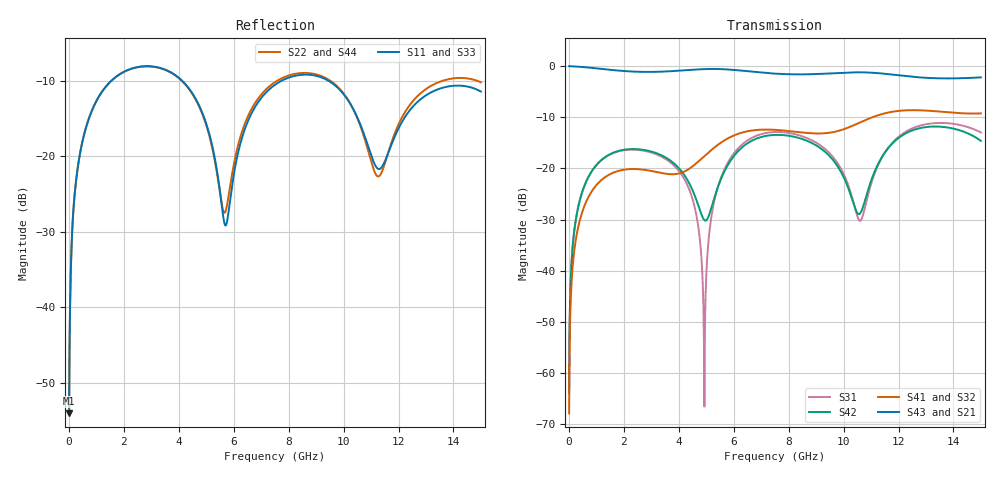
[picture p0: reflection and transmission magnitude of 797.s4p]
! Created with skrf 1.8.0 (http://scikit-rf.org).
# GHz S RI R 50.0
!freq ReS11 ImS11 ReS12 ImS12 ReS13 ImS13
! ReS14 ImS14
! ReS21 ImS21 ReS22 ImS22 ReS23 ImS23
! ReS24 ImS24
! ReS31 ImS31 ReS32 ImS32 ReS33 ImS33
! ReS34 ImS34
! ReS41 ImS41 ReS42 ImS42 ReS43 ImS43
! ReS44 ImS44
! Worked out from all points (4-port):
!   2499 points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, 5 MHz to 15 GHz, reference 50 ohm
!   strongest paths, dB at 5 MHz, 3.476 GHz, 7.19 GHz, 11.1 GHz, 15 GHz:
!     S43: 0.0, -1.1, -1.4, -1.3, -2.2
!     S21: 0.0, -1.1, -1.4, -1.3, -2.2
!     S41: -67.9, -21.0, -12.4, -9.9, -9.2
!     S32: -67.9, -21.1, -12.5, -9.9, -9.4
!     S42: -63.9, -17.7, -13.6, -21.0, -14.6
!     S31: -63.9, -18.0, -13.1, -21.5, -13.0
!   lowest |S11| = -54.0 dB at 5 MHz (marker M1), VSWR 1.00, Z = 50.2 + j0.121 ohm
!   |S11| at or under -10 dB: start of sweep to 1.542 GHz; 4.123 GHz to 7.742 GHz (3.619 GHz wide, 61 % of centre); 9.449 GHz to end of sweep
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0.005  0.00158 0.0012  0.9984 -0.00308  7.95e-05 0.000635  -7.73e-05 -0.000397
       0.9984 -0.00308  0.00158 0.0012  -7.73e-05 -0.000397  7.96e-05 0.000635
       7.95e-05 0.000635  -7.73e-05 -0.000397  0.00158 0.0012  0.9984 -0.00308
       -7.73e-05 -0.000397  7.96e-05 0.000635  0.9984 -0.00308  0.00158 0.0012
1.469362  0.2435 0.1868  0.6061 -0.6941  0.1162 0.0703  -0.0857 -0.0154
          0.6061 -0.6941  0.2427 0.1873  -0.0855 -0.0156  0.1191 0.0668
          0.1162 0.0703  -0.0855 -0.0156  0.2436 0.1867  0.6061 -0.6941
          -0.0857 -0.0154  0.1191 0.0668  0.6061 -0.6941  0.2425 0.1874
4.189246  0.2434 -0.1879  -0.5529 -0.722  0.0564 -0.0561  -0.0518 0.0771
          -0.5529 -0.722  0.2451 -0.182  -0.0534 0.0751  0.0411 -0.0766
          0.0564 -0.0561  -0.0534 0.0751  0.2433 -0.1887  -0.5529 -0.7219
          -0.0518 0.0771  0.0411 -0.0766  -0.5529 -0.7219  0.2455 -0.1815
4.933306  0.0955 -0.1504  -0.8213 -0.4461  -0.000378 0.00028  -0.0577 0.1188
          -0.8213 -0.4461  0.0995 -0.1433  -0.061 0.1171  -0.0272 -0.0153
          -0.000378 0.00028  -0.061 0.1171  0.0953 -0.151  -0.8212 -0.446
          -0.0577 0.1188  -0.0272 -0.0153  -0.8212 -0.446  0.1002 -0.1433
6.490204  0.1139 0.1213  -0.8194 0.3508  0.1294 0.135  0.1257 0.1932
          -0.8194 0.3508  0.1281 0.1256  0.1203 0.1955  0.0976 0.1457
          0.1294 0.135  0.1203 0.1955  0.1149 0.1215  -0.8194 0.3509
          0.1257 0.1932  0.0976 0.1457  -0.8194 0.3509  0.1269 0.1244
11.17966  0.0812 -0.0266  0.8298 0.2131  -0.0127 0.0955  0.066 -0.3188
          0.8298 0.2131  0.0723 -0.0222  0.0834 -0.3151  -0.0265 0.0962
          -0.0127 0.0955  0.0834 -0.3151  0.0778 -0.0259  0.83 0.2124
          0.066 -0.3188  -0.0265 0.0962  0.83 0.2124  0.076 -0.0234
15  0.2537 -0.0869  -0.1047 -0.7679  0.1528 -0.1641  -0.3188 0.1323
    -0.1047 -0.7679  0.2841 -0.1209  -0.3218 0.1024  0.1603 -0.0936
    0.1528 -0.1641  -0.3218 0.1024  0.2555 -0.1024  -0.1065 -0.7682
    -0.3188 0.1323  0.1603 -0.0936  -0.1065 -0.7682  0.2781 -0.1085
